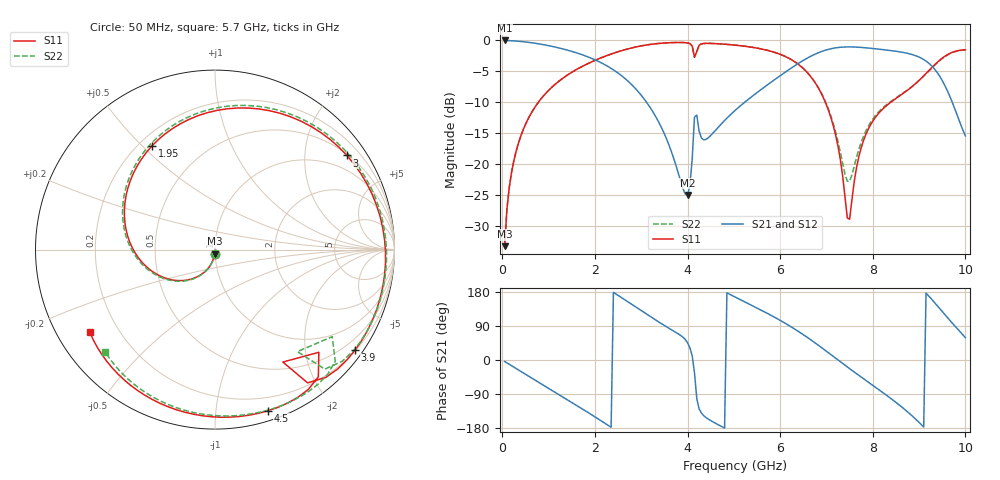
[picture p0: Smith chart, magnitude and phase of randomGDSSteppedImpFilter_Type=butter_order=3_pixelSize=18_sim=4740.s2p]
! freq	dB(S11)	phase(S11)	dB(S12)	phase(S12)
!  dB(S21)	phase(S21)	dB(S22)	phase(S22)
!S-par simulation data
#  GHz  S  DB  R 50
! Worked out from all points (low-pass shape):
!   200 points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, 50 MHz to 10 GHz, reference 50 ohm
!   highest |S21| = -0.01 dB at 50 MHz (marker M1); lowest = -25.0 dB at 4 GHz (marker M2)
!   |S21| within 3 dB of the highest: start of sweep to 1.963 GHz; 6.551 GHz to 9.08 GHz (2.529 GHz wide, 32.4 % of centre)
!   lowest |S11| = -33.2 dB at 50 MHz (marker M3), VSWR 1.04, Z = 49.8 - j2.17 ohm
!   |S11| at or under -10 dB: start of sweep to 778 MHz; 6.976 GHz to 8.386 GHz (1.41 GHz wide, 18.4 % of centre)
!   |S22| runs from -33.2 to -0.3 dB; largest |S21 - S12| = 0
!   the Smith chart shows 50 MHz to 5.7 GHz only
!   S11 on the Smith chart (normalised r, x): 50 MHz: 1.00, -0.04; 1.95 GHz: 0.25, +0.54; 3 GHz: 0.53, +3.04; 3.9 GHz: 0.21, -3.09; 4.5 GHz: 0.08, -1.38; 5.7 GHz: 0.10, -0.30
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0.05  -33.22 -93.6  -0.01 -3.8  -0.01 -3.8  -33.22 -93.6
0.2  -21.31 -105.5  -0.06 -15.1  -0.06 -15.1  -21.31 -105.2
0.5  -13.58 -128.5  -0.25 -37.6  -0.25 -37.6  -13.58 -127.7
1.1  -7.35 -173.8  -1.00 -82.1  -1.00 -82.1  -7.35 -171.9
1.75  -4.11 136.7  -2.38 -130.8  -2.38 -130.8  -4.11 140.1
1.95  -3.39 121.1  -2.97 -146.1  -2.97 -146.1  -3.39 125.0
3  -0.89 35.5  -8.85 130.0  -8.85 130.0  -0.88 41.8
3.4  -0.48 3.1  -13.52 98.6  -13.52 98.6  -0.47 10.1
3.9  -0.35 -35.7  -23.89 60.4  -23.89 60.4  -0.34 -28.1
4  -0.41 -44.1  -24.95 45.6  -24.95 45.6  -0.40 -36.4
4.15  -2.71 -58.9  -12.38 -33.3  -12.38 -33.3  -2.73 -51.1
4.5  -0.49 -71.7  -15.36 -159.9  -15.36 -159.9  -0.48 -63.4
5.05  -0.78 -106.6  -11.16 164.9  -11.16 164.9  -0.77 -97.8
5.7  -1.56 -146.8  -7.32 124.7  -7.32 124.7  -1.54 -136.8
6.7  -6.24 140.1  -2.42 50.0  -2.42 50.0  -6.19 154.6
7.15  -13.86 104.8  -1.26 9.2  -1.26 9.2  -13.50 127.1
7.5  -28.88 173.7  -1.05 -22.8  -1.05 -22.8  -22.75 177.8
7.8  -16.17 -157.1  -1.16 -49.4  -1.16 -49.4  -15.49 -153.3
8.35  -10.21 158.2  -1.60 -97.8  -1.60 -97.8  -10.07 173.5
8.95  -6.80 94.6  -2.54 -158.7  -2.54 -158.7  -6.82 118.1
9.35  -3.83 41.8  -4.78 149.3  -4.78 149.3  -3.91 66.0
10  -1.53 -46.1  -15.42 58.8  -15.42 58.8  -1.55 -26.7
